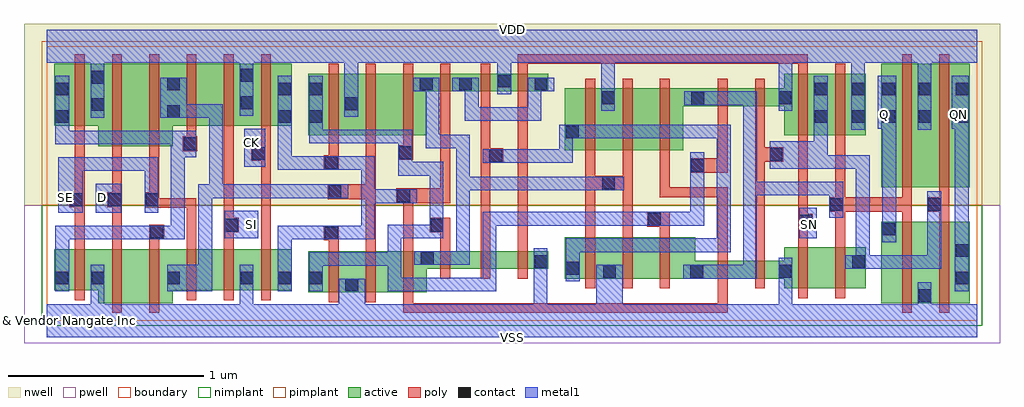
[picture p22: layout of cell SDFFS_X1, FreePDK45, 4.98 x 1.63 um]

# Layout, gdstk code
import gdstk
lib = gdstk.Library(unit=1e-6, precision=1e-10)
def R(c, l, rs):  # rectangles x0, y0, x1, y1
    for r in rs: c.add(gdstk.rectangle(r[:2], r[2:], *l))
def P(c, l, *ps):  # polygons
    for p in ps: c.add(gdstk.Polygon(p, *l))
active = (1, 0)
pwell = (2, 0)
nwell = (3, 0)
nimplant = (4, 0)
pimplant = (5, 0)
poly = (9, 0)
contact = (10, 0)
metal1 = (11, 0)
boundary = (235, 0)

sdffs_x1 = lib.new_cell('SDFFS_X1')
R(sdffs_x1, active, [(4.26,0.09,4.71,0.505), (4.26,0.68,4.71,1.31)])
P(sdffs_x1, active, [(0.265,0.09),(0.265,0.155),(0.04,0.155),(0.04,0.365),(1.25,0.365),(1.25,0.155),(0.645,0.155),(0.645,0.09)],
  [(0.265,0.89),(0.265,0.995),(0.04,0.995),(0.04,1.31),(1.25,1.31),(1.25,0.995),(0.645,0.995),(0.645,0.89)],
  [(1.335,0.145),(1.335,0.355),(2.56,0.355),(2.56,0.265),(1.94,0.265),(1.94,0.145)],
  [(1.335,0.945),(1.335,1.26),(2.56,1.26),(2.56,1.17),(1.94,1.17),(1.94,0.945)],
  [(3.765,0.165),(3.765,0.215),(2.645,0.215),(2.645,0.425),(3.31,0.425),(3.31,0.305),(3.765,0.305),(3.765,0.375),(4.18,0.375),(4.18,0.165)],
  [(2.645,0.87),(2.645,1.185),(3.765,1.185),(3.765,1.26),(4.18,1.26),(4.18,0.945),(3.765,0.945),(3.765,1.095),(3.25,1.095),(3.25,0.87)])
R(sdffs_x1, pwell, [(-0.115,-0.115,4.865,0.59)])
R(sdffs_x1, nwell, [(-0.115,0.59,4.865,1.515)])
R(sdffs_x1, nimplant, [(-0.025,-0.025,4.775,0.59)])
R(sdffs_x1, pimplant, [(-0.025,0.59,4.775,1.425)])
P(sdffs_x1, poly, [(0.145,0.105),(0.145,0.58),(0.115,0.58),(0.115,0.655),(0.145,0.655),(0.145,1.36),(0.195,1.36),(0.195,0.105)],
  [(0.335,0.04),(0.335,0.58),(0.31,0.58),(0.31,0.655),(0.335,0.655),(0.335,1.36),(0.385,1.36),(0.385,0.04)],
  [(0.525,0.04),(0.525,0.49),(0.6,0.49),(0.6,0.415),(0.575,0.415),(0.575,0.04)],
  [(0.715,0.105),(0.715,0.575),(0.5,0.575),(0.5,0.655),(0.525,0.655),(0.525,1.36),(0.575,1.36),(0.575,0.625),(0.765,0.625),(0.765,0.105)],
  [(0.695,0.865),(0.695,0.94),(0.715,0.94),(0.715,1.36),(0.765,1.36),(0.765,0.94),(0.77,0.94),(0.77,0.865)],
  [(0.905,0.105),(0.905,1.36),(0.955,1.36),(0.955,0.525),(0.98,0.525),(0.98,0.45),(0.955,0.45),(0.955,0.105)],
  [(1.095,0.105),(1.095,0.815),(1.045,0.815),(1.045,0.89),(1.095,0.89),(1.095,1.36),(1.145,1.36),(1.145,0.105)],
  [(1.44,0.095),(1.44,0.41),(1.415,0.41),(1.415,0.485),(1.49,0.485),(1.49,0.095)],
  [(1.415,0.77),(1.415,0.845),(1.44,0.845),(1.44,1.31),(1.49,1.31),(1.49,0.77)],
  [(1.63,0.095),(1.63,0.62),(1.435,0.62),(1.435,0.695),(1.63,0.695),(1.63,1.31),(1.68,1.31),(1.68,0.095)],
  [(1.795,0.82),(1.795,0.895),(1.82,0.895),(1.82,1.31),(1.87,1.31),(1.87,0.82)],
  [(2.01,0.215),(2.01,0.45),(1.955,0.45),(1.955,0.525),(2.06,0.525),(2.06,0.215)],
  [(2.215,0.215),(2.215,1.31),(2.265,1.31),(2.265,0.88),(2.33,0.88),(2.33,0.805),(2.265,0.805),(2.265,0.215)],
  [(2.75,0.165),(2.75,1.235),(2.8,1.235),(2.8,0.74),(2.94,0.74),(2.94,1.235),(2.99,1.235),(2.99,0.165),(2.94,0.165),(2.94,0.665),(2.8,0.665),(2.8,0.165)],
  [(3.13,0.165),(3.13,0.48),(3.065,0.48),(3.065,0.555),(3.18,0.555),(3.18,0.165)],
  [(1.82,0.04),(1.82,0.6),(1.785,0.6),(1.785,0.675),(2.01,0.675),(2.01,1.31),(2.06,1.31),(2.06,0.6),(1.87,0.6),(1.87,0.09),(3.425,0.09),(3.425,0.63),(3.13,0.63),(3.13,1.235),(3.18,1.235),(3.18,0.68),(3.475,0.68),(3.475,0.04)],
  [(3.285,0.755),(3.285,0.83),(3.425,0.83),(3.425,1.235),(3.475,1.235),(3.475,0.755)],
  [(3.615,0.165),(3.615,1.235),(3.665,1.235),(3.665,0.885),(3.76,0.885),(3.76,0.81),(3.665,0.81),(3.665,0.165)],
  [(3.835,0.115),(3.835,1.31),(2.455,1.31),(2.455,0.215),(2.405,0.215),(2.405,1.36),(3.885,1.36),(3.885,0.545),(3.91,0.545),(3.91,0.47),(3.885,0.47),(3.885,0.115)],
  [(4.365,0.04),(4.365,0.555),(4.075,0.555),(4.075,0.115),(4.025,0.115),(4.025,0.555),(3.995,0.555),(3.995,0.63),(4.025,0.63),(4.025,1.31),(4.075,1.31),(4.075,0.63),(4.365,0.63),(4.365,1.36),(4.415,1.36),(4.415,0.04)],
  [(4.555,0.04),(4.555,0.555),(4.495,0.555),(4.495,0.63),(4.555,0.63),(4.555,1.36),(4.605,1.36),(4.605,0.04)])
R(sdffs_x1, contact, [(4.45,0.095,4.515,0.16), (1.525,0.15,1.59,0.215), (0.045,0.185,0.11,0.25), (0.23,0.185,0.295,0.25), (0.615,0.185,0.68,0.25), (0.99,0.185,1.055,0.25), (1.18,0.185,1.245,0.25), (1.34,0.185,1.405,0.25), (4.64,0.185,4.705,0.25), (2.84,0.22,2.905,0.285), (3.285,0.22,3.35,0.285), (3.735,0.22,3.8,0.285), (2.65,0.235,2.715,0.3), (2.49,0.27,2.555,0.335), (4.11,0.27,4.175,0.335), (1.91,0.285,1.975,0.35), (4.64,0.325,4.705,0.39), (1.42,0.415,1.485,0.48), (0.53,0.42,0.595,0.485), (4.265,0.435,4.33,0.5), (0.91,0.455,0.975,0.52), (1.96,0.455,2.025,0.52), (3.84,0.475,3.905,0.54), (3.07,0.485,3.135,0.55), (4,0.56,4.065,0.625), (4.5,0.56,4.565,0.625), (0.12,0.585,0.185,0.65), (0.315,0.585,0.38,0.65), (0.505,0.585,0.57,0.65), (1.79,0.605,1.855,0.67), (1.44,0.625,1.505,0.69), (2.835,0.67,2.9,0.735), (3.29,0.76,3.355,0.825), (1.42,0.775,1.485,0.84), (2.26,0.81,2.325,0.875), (3.69,0.815,3.755,0.88), (1.05,0.82,1.115,0.885), (1.8,0.825,1.865,0.89), (0.7,0.87,0.765,0.935), (2.65,0.93,2.715,0.995), (0.045,1.01,0.11,1.075), (1.18,1.01,1.245,1.075), (1.34,1.01,1.405,1.075), (3.92,1.01,3.985,1.075), (4.11,1.01,4.175,1.075), (4.265,1.01,4.33,1.075), (4.45,1.01,4.515,1.075), (4.64,1.01,4.705,1.075), (0.615,1.035,0.68,1.1), (0.23,1.07,0.295,1.135), (1.525,1.075,1.59,1.14), (0.99,1.08,1.055,1.145), (3.29,1.1,3.355,1.165), (2.835,1.105,2.9,1.17), (3.735,1.105,3.8,1.17), (0.045,1.15,0.11,1.215), (1.18,1.15,1.245,1.215), (1.34,1.15,1.405,1.215), (3.92,1.15,3.985,1.215), (4.11,1.15,4.175,1.215), (4.265,1.15,4.33,1.215), (4.45,1.15,4.515,1.215), (4.64,1.15,4.705,1.215), (0.615,1.175,0.68,1.24), (1.905,1.175,1.97,1.24), (2.105,1.175,2.17,1.24), (2.49,1.175,2.555,1.24), (2.305,1.19,2.37,1.255), (0.23,1.21,0.295,1.275), (0.99,1.22,1.055,1.285)])
R(sdffs_x1, metal1, [(0.91,0.42,1.08,0.56), (3.84,0.42,3.93,0.575), (0.25,0.55,0.38,0.7), (1.01,0.785,1.115,0.98)])
P(sdffs_x1, metal1, [(0.06,0.55),(0.06,0.835),(0.57,0.835),(0.57,0.55),(0.5,0.55),(0.5,0.765),(0.185,0.765),(0.185,0.55)],
  [(0.045,0.15),(0.045,0.485),(0.635,0.485),(0.635,0.9),(0.045,0.9),(0.045,1.25),(0.115,1.25),(0.115,0.97),(0.765,0.97),(0.765,0.835),(0.705,0.835),(0.705,0.415),(0.115,0.415),(0.115,0.15)],
  [(0.615,0.15),(0.615,0.285),(0.775,0.285),(0.775,0.695),(0.83,0.695),(0.83,1.035),(0.58,1.035),(0.58,1.24),(0.715,1.24),(0.715,1.105),(0.9,1.105),(0.9,0.695),(1.54,0.695),(1.54,0.625),(0.845,0.625),(0.845,0.15)],
  [(1.18,0.15),(1.18,0.485),(1.605,0.485),(1.605,0.77),(1.18,0.77),(1.18,1.25),(1.25,1.25),(1.25,0.84),(1.675,0.84),(1.675,0.67),(1.89,0.67),(1.89,0.6),(1.675,0.6),(1.675,0.415),(1.25,0.415),(1.25,0.15)],
  [(2.135,1.02),(2.135,1.17),(2.07,1.17),(2.07,1.24),(2.205,1.24),(2.205,1.09),(2.455,1.09),(2.455,1.24),(2.59,1.24),(2.59,1.17),(2.525,1.17),(2.525,1.02)],
  [(1.875,0.285),(1.875,0.355),(2.09,0.355),(2.09,0.88),(1.935,0.88),(1.935,1.17),(1.87,1.17),(1.87,1.24),(2.005,1.24),(2.005,0.95),(2.16,0.95),(2.16,0.735),(2.945,0.735),(2.945,0.665),(2.16,0.665),(2.16,0.285)],
  [(1.34,0.15),(1.34,0.35),(1.74,0.35),(1.74,0.49),(1.955,0.49),(1.955,0.74),(1.795,0.74),(1.795,0.905),(1.34,0.905),(1.34,1.25),(1.41,1.25),(1.41,0.975),(1.865,0.975),(1.865,0.81),(2.025,0.81),(2.025,0.42),(1.81,0.42),(1.81,0.22),(2.225,0.22),(2.225,0.555),(3.285,0.555),(3.285,0.86),(3.355,0.86),(3.355,0.485),(2.295,0.485),(2.295,0.15),(1.74,0.15),(1.74,0.28),(1.41,0.28),(1.41,0.15)],
  [(2.65,0.2),(2.65,0.42),(3.42,0.42),(3.42,0.93),(2.685,0.93),(2.685,0.805),(2.225,0.805),(2.225,0.875),(2.615,0.875),(2.615,1),(3.49,1),(3.49,0.35),(2.72,0.35),(2.72,0.2)],
  [(3.25,0.215),(3.25,0.285),(3.555,0.285),(3.555,1.1),(3.255,1.1),(3.255,1.17),(3.625,1.17),(3.625,0.71),(4.065,0.71),(4.065,0.525),(3.995,0.525),(3.995,0.64),(3.625,0.64),(3.625,0.215)],
  [(4.265,0.4),(4.265,0.98),(4.24,0.98),(4.24,1.25),(4.335,1.25),(4.335,0.4)],
  [(4.075,0.265),(4.075,0.335),(4.13,0.335),(4.13,0.775),(3.69,0.775),(3.69,0.915),(3.915,0.915),(3.915,1.25),(3.985,1.25),(3.985,0.845),(4.2,0.845),(4.2,0.335),(4.495,0.335),(4.495,0.66),(4.565,0.66),(4.565,0.265)],
  [(4.635,0.15),(4.635,0.98),(4.62,0.98),(4.62,1.25),(4.705,1.25),(4.705,0.15)],
  [(0,-0.085),(0,0.085),(0.225,0.085),(0.225,0.285),(0.295,0.285),(0.295,0.085),(0.985,0.085),(0.985,0.285),(1.055,0.285),(1.055,0.085),(1.49,0.085),(1.49,0.215),(1.625,0.215),(1.625,0.085),(2.485,0.085),(2.485,0.37),(2.555,0.37),(2.555,0.085),(2.805,0.085),(2.805,0.285),(2.94,0.285),(2.94,0.085),(3.735,0.085),(3.735,0.32),(3.805,0.32),(3.805,0.085),(4.445,0.085),(4.445,0.195),(4.515,0.195),(4.515,0.085),(4.75,0.085),(4.75,-0.085)],
  [(4.105,0.975),(4.105,1.315),(3.805,1.315),(3.805,1.07),(3.735,1.07),(3.735,1.315),(2.9,1.315),(2.9,1.07),(2.83,1.07),(2.83,1.315),(2.37,1.315),(2.37,1.155),(2.3,1.155),(2.3,1.315),(1.59,1.315),(1.59,1.04),(1.52,1.04),(1.52,1.315),(1.055,1.315),(1.055,1.045),(0.985,1.045),(0.985,1.315),(0.295,1.315),(0.295,1.035),(0.225,1.035),(0.225,1.315),(0,1.315),(0,1.485),(4.75,1.485),(4.75,1.315),(4.515,1.315),(4.515,0.975),(4.445,0.975),(4.445,1.315),(4.175,1.315),(4.175,0.975)])
R(sdffs_x1, boundary, [(0,0,4.75,1.4)])
sdffs_x1.add(gdstk.Label('CK', (1.045,0.91), layer=11, texttype=0))
sdffs_x1.add(gdstk.Label('D', (0.285,0.63), layer=11, texttype=0))
sdffs_x1.add(gdstk.Label('Q', (4.275,1.05), layer=11, texttype=0))
sdffs_x1.add(gdstk.Label('QN', (4.655,1.05), layer=11, texttype=0))
sdffs_x1.add(gdstk.Label('SE', (0.095,0.63), layer=11, texttype=0))
sdffs_x1.add(gdstk.Label('SI', (1.045,0.49), layer=11, texttype=0))
sdffs_x1.add(gdstk.Label('SN', (3.895,0.49), layer=11, texttype=0))
sdffs_x1.add(gdstk.Label('VDD', (2.375,1.485), layer=11, texttype=0))
sdffs_x1.add(gdstk.Label('VSS', (2.375,-0.085), layer=11, texttype=0))
sdffs_x1.add(gdstk.Label('& Vendor Nangate Inc', (0,0), layer=63, texttype=63))
sdffs_x1.add(gdstk.Label('& Product Open Cell Library', (0,0), layer=63, texttype=63))
sdffs_x1.add(gdstk.Label('& Version 2010_12', (0,0), layer=63, texttype=63))
sdffs_x1.add(gdstk.Label('& Instance SDFFS_X1', (0,0), layer=63, texttype=63))

lib.write_gds('SDFFS_X1.gds')
